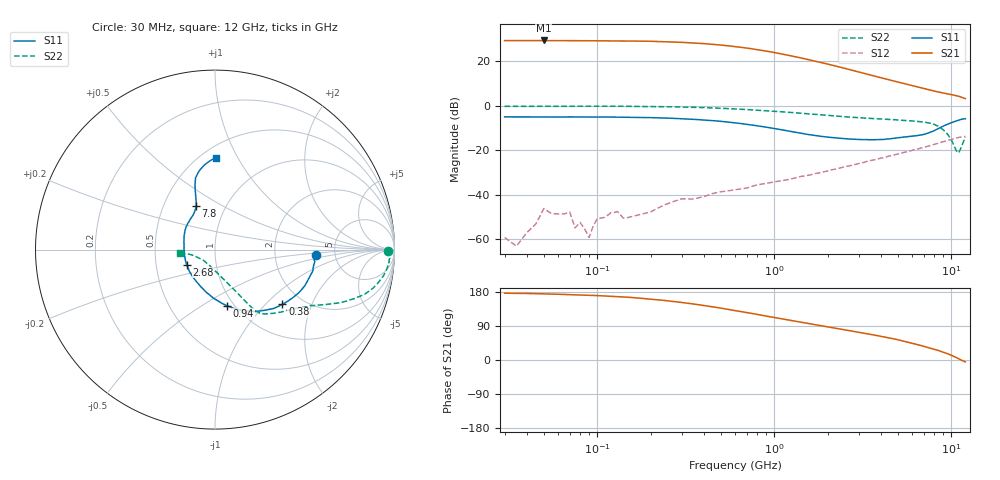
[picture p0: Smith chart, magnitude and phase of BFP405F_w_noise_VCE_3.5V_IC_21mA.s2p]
! Infineon Technologies  Discrete & RF Semiconductors
! BFP405F
! VCE =  3.5 V,  IC =  21 mA
! Common Emitter S-Parameters:  Nov 2015
# GHz  S  MA  R  50
!  f  S11  S21  S12  S22
! GHz  MAG  ANG  MAG  ANG  MAG  ANG  MAG  ANG
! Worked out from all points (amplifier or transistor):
!   239 points, 30 MHz to 12 GHz, reference 50 ohm
!   highest |S21| = 29.3 dB at 50 MHz (marker M1)
!   |S21| within 3 dB of that: start of sweep to 637 MHz
!   unconditionally stable (mu >= 1): 30.14 MHz to 38.04 MHz; 1.704 GHz to end of sweep
!   at 300 MHz: K = 0.31, MSG = 35.1 dB, |S12| = -41.8 dB
!   at 1.88 GHz: K = 1.06, MAG = 23.0 dB, |S12| = -29.8 dB
!   at 12 GHz: K = 1.38, MAG = 4.8 dB, |S12| = -13.8 dB
!   lowest NFmin = 2.30 dB at 450 MHz
!   S11 on the Smith chart (normalised r, x): 30 MHz: 3.53, -0.30; 380 MHz: 1.59, -1.26; 940 MHz: 0.93, -0.65; 2.68 GHz: 0.72, -0.12; 7.8 GHz: 0.73, +0.38; 12 GHz: 0.59, +0.82
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0.03  0.5614 -3.0  29.05 176.2  0.0011 -59.8  0.9666 -0.3
0.035  0.5614 -3.5  29.05 175.9  0.0007 9.5  0.9685 -0.4
0.05  0.5592 -4.5  29.2 174.3  0.0049 178.2  0.9698 -0.7
0.085  0.5569 -9.1  28.8 171.2  0.0017 84.1  0.9733 -2.6
0.12  0.5556 -13.2  28.56 168.3  0.004 74.4  0.9732 -4.1
0.15  0.5474 -16.9  28.44 165.6  0.0031 83.1  0.9678 -5.5
0.2  0.5396 -21.8  28 160.5  0.0041 77.7  0.9573 -7.5
0.24  0.5292 -25.8  27.33 157.1  0.0059 86.5  0.95 -8.8
0.3  0.5099 -31.6  26.5 151.8  0.0081 77.6  0.9334 -10.8
0.38  0.4839 -39.0  25.12 145.4  0.0087 77.4  0.9122 -13.1
0.5  0.446 -48.8  23 136.8  0.0117 70.7  0.8752 -16.2
0.6  0.4126 -56.8  21.27 130.6  0.0129 70.6  0.8462 -18.0
0.7  0.382 -63.3  19.71 125.2  0.0142 72.7  0.8181 -19.6
0.94  0.3206 -77.7  16.36 114.4  0.0186 72.0  0.7616 -22.7
1.3  0.2545 -96.6  12.72 102.5  0.0236 71.2  0.6956 -26.0
1.64  0.2185 -112.3  10.37 94.6  0.0288 71.3  0.6488 -28.5
2.14  0.1918 -133.5  8.069 85.1  0.0368 72.2  0.5951 -32.5
2.68  0.1786 -152.2  6.427 77.2  0.045 70.7  0.5545 -36.3
4.5  0.1807 163.4  3.769 57.9  0.0746 64.3  0.4908 -46.0
7.8  0.263 113.7  2.178 29.9  0.1312 50.8  0.3936 -57.1
10.8  0.4629 98.9  1.655 5.1  0.1905 33.0  0.0899 -116.8
12  0.5096 89.3  1.445 -5.0  0.2053 25.9  0.1979 -174.6
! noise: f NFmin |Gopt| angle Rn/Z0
0.45  2.3  0.01  -63  0.46
0.9  2.31  0.02  -121  0.35
1.5  2.37  0.04  -124  0.41
1.9  2.45  0.05  -124  0.51
2.4  2.59  0.07  -124  0.18
3  2.69  0.08  -122  0.18
3.5  2.77  0.1  -119  0.26
4.5  3.02  0.15  -105  0.51
5.5  3.36  0.26  -88  0.5
